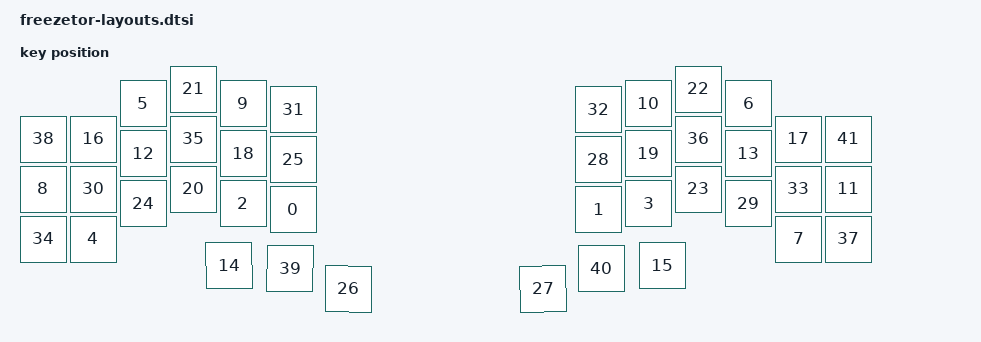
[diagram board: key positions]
/*
 * Copyright (c) 2025 The ZMK Contributors
 *
 * SPDX-License-Identifier: MIT
 */
#include <physical_layouts.dtsi>

/ {
    physical_layout0: physical_layout_0 {
        compatible = "zmk,physical-layout";
        display-name = "Default";

        keys  //                     w   h    x    y   rot    rx    ry
            = <&key_physical_attrs 100 100  500  241     0   500   241>
            , <&key_physical_attrs 100 100 1111  241     0  1111   241>
            , <&key_physical_attrs 100 100  400  229     0   400   229>
            , <&key_physical_attrs 100 100 1211  229     0  1211   229>
            , <&key_physical_attrs 100 100  100  300     0   100   300>
            , <&key_physical_attrs 100 100  200   29     0   200    29>
            , <&key_physical_attrs 100 100 1411   29     0  1411    29>
            , <&key_physical_attrs 100 100 1511  300     0  1511   300>
            , <&key_physical_attrs 100 100    0  200     0     0   200>
            , <&key_physical_attrs 100 100  400   29     0   400    29>
            , <&key_physical_attrs 100 100 1211   29     0  1211    29>
            , <&key_physical_attrs 100 100 1611  200     0  1611   200>
            , <&key_physical_attrs 100 100  200  129     0   200   129>
            , <&key_physical_attrs 100 100 1411  129     0  1411   129>
            , <&key_physical_attrs 100 100  372  353    (-5)   422   403>
            , <&key_physical_attrs 100 100 1239  353     5  1289   403>
            , <&key_physical_attrs 100 100  100  100     0   100   100>
            , <&key_physical_attrs 100 100 1511  100     0  1511   100>
            , <&key_physical_attrs 100 100  400  129     0   400   129>
            , <&key_physical_attrs 100 100 1211  129     0  1211   129>
            , <&key_physical_attrs 100 100  300  200     0   300   200>
            , <&key_physical_attrs 100 100  300    0     0   300     0>
            , <&key_physical_attrs 100 100 1311    0     0  1311     0>
            , <&key_physical_attrs 100 100 1311  200     0  1311   200>
            , <&key_physical_attrs 100 100  200  229     0   200   229>
            , <&key_physical_attrs 100 100  500  141     0   500   141>
            , <&key_physical_attrs 100 100  611  400    25   661   450>
            , <&key_physical_attrs 100 100 1000  400   (-25)  1050   450>
            , <&key_physical_attrs 100 100 1111  141     0  1111   141>
            , <&key_physical_attrs 100 100 1411  229     0  1411   229>
            , <&key_physical_attrs 100 100  100  200     0   100   200>
            , <&key_physical_attrs 100 100  500   41     0   500    41>
            , <&key_physical_attrs 100 100 1111   41     0  1111    41>
            , <&key_physical_attrs 100 100 1511  200     0  1511   200>
            , <&key_physical_attrs 100 100    0  300     0     0   300>
            , <&key_physical_attrs 100 100  300  100     0   300   100>
            , <&key_physical_attrs 100 100 1311  100     0  1311   100>
            , <&key_physical_attrs 100 100 1611  300     0  1611   300>
            , <&key_physical_attrs 100 100    0  100     0     0   100>
            , <&key_physical_attrs 100 100  494  359    10   544   409>
            , <&key_physical_attrs 100 100 1117  359   (-10)  1167   409>
            , <&key_physical_attrs 100 100 1611  100     0  1611   100>
            ;
    };
};
